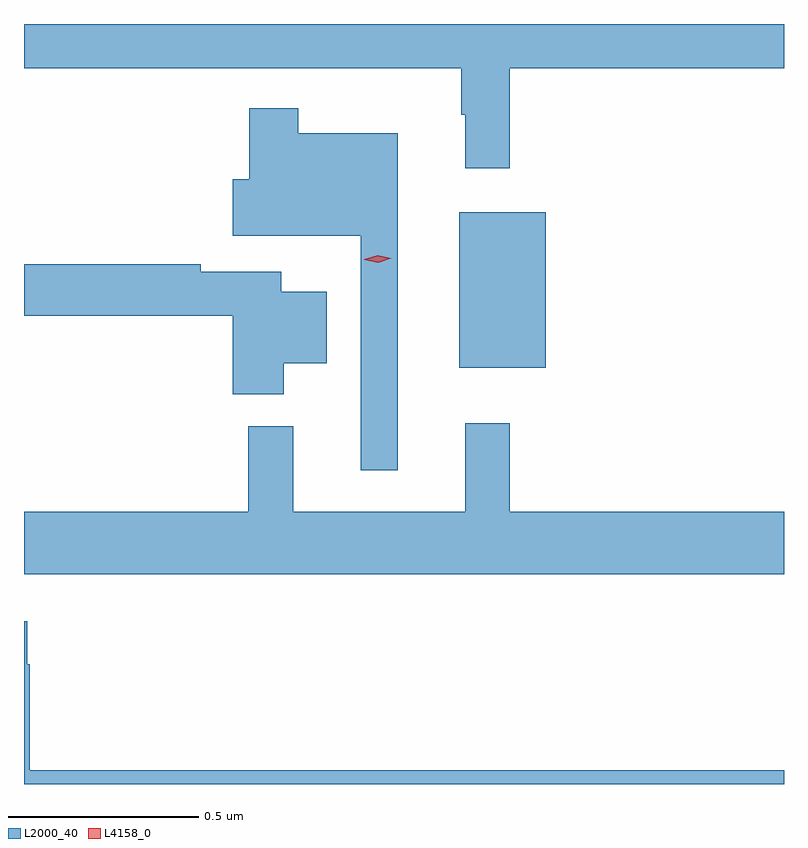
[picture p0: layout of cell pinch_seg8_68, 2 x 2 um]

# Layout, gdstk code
import gdstk
lib = gdstk.Library(unit=1e-6, precision=1e-09)
def R(c, l, rs):  # rectangles x0, y0, x1, y1
    for r in rs: c.add(gdstk.rectangle(r[:2], r[2:], *l))
def P(c, l, *ps):  # polygons
    for p in ps: c.add(gdstk.Polygon(p, *l))
L2000_40 = (2000, 40)
L4158_0 = (4158, 0)

pinch_seg8_68 = lib.new_cell('pinch_seg8_68')
R(pinch_seg8_68, L2000_40, [(878.783,1110.383,879.01,1110.793)])
P(pinch_seg8_68, L2000_40, [(878.915,1111.172),(879.637,1111.172),(879.637,1111.288),(877.637,1111.288),(877.637,1111.172),(878.787,1111.172),(878.787,1111.049),(878.798,1111.049),(878.798,1110.909),(878.915,1110.909)],
  [(878.62,1111),(878.359,1111),(878.359,1111.066),(878.23,1111.066),(878.23,1110.879),(878.186,1110.879),(878.186,1110.731),(878.523,1110.731),(878.523,1110.114),(878.62,1110.114)],
  [(878.32,1110.395),(878.434,1110.395),(878.434,1110.583),(878.314,1110.583),(878.314,1110.636),(878.102,1110.636),(878.102,1110.656),(877.637,1110.656),(877.637,1110.52),(878.186,1110.52),(878.186,1110.314),(878.32,1110.314)],
  [(879.637,1110.004),(878.915,1110.004),(878.915,1110.238),(878.798,1110.238),(878.798,1110.004),(878.345,1110.004),(878.345,1110.229),(878.227,1110.229),(878.227,1110.004),(877.637,1110.004),(877.637,1109.84),(879.637,1109.84)],
  [(879.637,1109.324),(877.652,1109.324),(877.652,1109.603),(877.645,1109.603),(877.645,1109.716),(877.637,1109.716),(877.637,1109.288),(879.637,1109.288)])
P(pinch_seg8_68, L4158_0, [(878.569,1110.66),(878.533,1110.668),(878.533,1110.669),(878.533,1110.669),(878.568,1110.68),(878.604,1110.672),(878.604,1110.671),(878.604,1110.671)])

lib.write_gds('pinch_seg8_68.gds')
